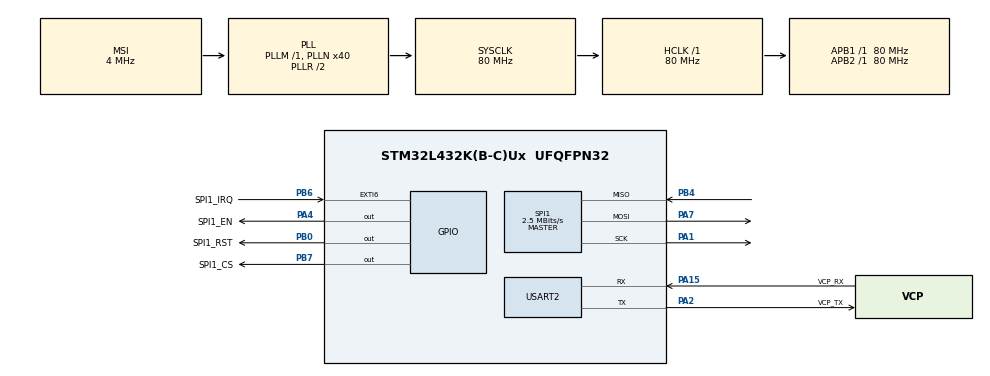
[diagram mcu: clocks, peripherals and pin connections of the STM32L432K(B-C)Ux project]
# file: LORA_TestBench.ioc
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FREERTOS.BinarySemaphores01=xSem_LORAReceive_start,Dynamic,NULL
FREERTOS.INCLUDE_vTaskDelayUntil=1
FREERTOS.Queues01=LoRA_toSend,4,LoRAtoSendQ_t,0,Dynamic,NULL,NULL;UARTdebug,20,UARTdebugQ_t,0,Dynamic,NULL,NULL
FREERTOS.Tasks01=StartInit,3,512,StartInit_TASK,Default,NULL,Dynamic,NULL,NULL;SenderLoRA,0,256,SenderLoRA_TASK,Default,NULL,Dynamic,NULL,NULL;ReceiverLoRA,0,256,ReceiverLoRA_TASK,Default,NULL,Dynamic,NULL,NULL;debug,0,256,debug_TASK,Default,NULL,Dynamic,NULL,NULL
FREERTOS.configGENERATE_RUN_TIME_STATS=1
FREERTOS.configTIMER_TASK_STACK_DEPTH=1024
FREERTOS.configTOTAL_HEAP_SIZE=7500
FREERTOS.configUSE_NEWLIB_REENTRANT=1
FREERTOS.configUSE_STATS_FORMATTING_FUNCTIONS=1
FREERTOS.configUSE_TIMERS=1
FREERTOS.configUSE_TRACE_FACILITY=1
Mcu.Family=STM32L4
Mcu.Name=STM32L432K(B-C)Ux
Mcu.Package=UFQFPN32
NVIC.EXTI9_5_IRQn=true\:5\:0\:false\:false\:true\:true\:true\:true\:true
NVIC.PriorityGroup=NVIC_PRIORITYGROUP_4
NVIC.TIM1_UP_TIM16_IRQn=true\:15\:0\:false\:false\:true\:false\:false\:true\:true
NVIC.TimeBase=TIM1_UP_TIM16_IRQn
NVIC.TimeBaseIP=TIM1
PA0.GPIO_Label=MCO [High speed clock in]
PA0.Mode=HSE-External-Clock-Source-for-LittleOrca
PA0.Signal=RCC_CK_IN
PA1.Mode=Full_Duplex_Master
PA1.Signal=SPI1_SCK
PA13\ (JTMS-SWDIO).Mode=Serial_Wire
PA13\ (JTMS-SWDIO).Signal=SYS_JTMS-SWDIO
PA14\ (JTCK-SWCLK).Mode=Serial_Wire
PA14\ (JTCK-SWCLK).Signal=SYS_JTCK-SWCLK
PA15\ (JTDI).GPIO_Label=VCP_RX
PA15\ (JTDI).Mode=Asynchronous
PA15\ (JTDI).Signal=USART2_RX
PA2.GPIO_Label=VCP_TX
PA2.Mode=Asynchronous
PA2.Signal=USART2_TX
PA4.GPIO_Label=SPI1_EN
PA4.PinState=GPIO_PIN_SET
PA4.Signal=GPIO_Output
PA7.Mode=Full_Duplex_Master
PA7.Signal=SPI1_MOSI
PB0.GPIO_Label=SPI1_RST
PB0.Signal=GPIO_Output
PB4\ (NJTRST).Mode=Full_Duplex_Master
PB4\ (NJTRST).Signal=SPI1_MISO
PB6.GPIO_Label=SPI1_IRQ
PB6.GPIO_ModeDefaultEXTI=GPIO_MODE_IT_RISING_FALLING
PB6.Signal=GPXTI6
PB7.GPIO_Label=SPI1_CS
PB7.PinState=GPIO_PIN_RESET
PB7.Signal=GPIO_Output
PC14-OSC32_IN\ (PC14).Mode=LSE-External-Oscillator
PC14-OSC32_IN\ (PC14).Signal=RCC_OSC32_IN
PC15-OSC32_OUT\ (PC15).Mode=LSE-External-Oscillator
PC15-OSC32_OUT\ (PC15).Signal=RCC_OSC32_OUT
ProjectManager.HeapSize=0x200
ProjectManager.StackSize=0x400
ProjectManager.TargetToolchain=STM32CubeIDE
RCC.ADCFreq_Value=16000000
RCC.AHBFreq_Value=80000000
RCC.APB1Freq_Value=80000000
RCC.APB1TimFreq_Value=80000000
RCC.APB2Freq_Value=80000000
RCC.APB2TimFreq_Value=80000000
RCC.CortexFreq_Value=80000000
RCC.HCLKFreq_Value=80000000
RCC.HSE_VALUE=32000000
RCC.HSI16_VALUE=16000000
RCC.HSI48_VALUE=48000000
RCC.HSI_VALUE=16000000
RCC.MSI_VALUE=4000000
RCC.PLLMUL=RCC_PLLMUL_4
RCC.PLLN=40
RCC.SYSCLKFreq_VALUE=80000000
RCC.SYSCLKSource=RCC_SYSCLKSOURCE_PLLCLK
RCC.USBFreq_Value=16000000
RCC.VCOOutputFreq_Value=160000000
SPI1.BaudRatePrescaler=SPI_BAUDRATEPRESCALER_32
SPI1.CalculateBaudRate=2.5 MBits/s
SPI1.DataSize=SPI_DATASIZE_8BIT
SPI1.Direction=SPI_DIRECTION_2LINES
SPI1.Mode=SPI_MODE_MASTER
SPI1.VirtualType=VM_MASTER
USART2.VirtualMode-Asynchronous=VM_ASYNC
VP_FREERTOS_VS_CMSIS_V1.Mode=CMSIS_V1
VP_SYS_VS_tim1.Mode=TIM1
board=NUCLEO-L432KC

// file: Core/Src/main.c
/* USER CODE BEGIN Header */
/**
 ******************************************************************************
 * @file           : main.c
 * @brief          : Main program body
 ******************************************************************************
 * @attention
 *
 * Copyright (c) 2024 STMicroelectronics.
 * All rights reserved.
 *
 * This software is licensed under terms that can be found in the LICENSE file
 * in the root directory of this software component.
 * If no LICENSE file comes with this software, it is provided AS-IS.
 *
 ******************************************************************************
 */
/* USER CODE END Header */
#include "main.h"
#include "cmsis_os.h"
#include "spi.h"
#include "usart.h"
#include "gpio.h"

/* USER CODE BEGIN Includes */
#include "RTOS_subfunctions/debug.h"
/* USER CODE END Includes */

void SystemClock_Config(void);
void MX_FREERTOS_Init(void);

int main(void)
{

  /* MCU Configuration--------------------------------------------------------*/

  /* Reset of all peripherals, Initializes the Flash interface and the Systick. */
  HAL_Init();

  /* Configure the system clock */
  SystemClock_Config();

  /* Initialize all configured peripherals */
  MX_GPIO_Init();
  MX_USART2_UART_Init();
  MX_SPI1_Init();

  /* Call init function for freertos objects (in cmsis_os2.c) */
  MX_FREERTOS_Init();

  /* Start scheduler */
  osKernelStart();

  /* We should never get here as control is now taken by the scheduler */

  /* Infinite loop */
	while (1)
	{

	}
}

void SystemClock_Config(void)
{
  RCC_OscInitTypeDef RCC_OscInitStruct = {0};
  RCC_ClkInitTypeDef RCC_ClkInitStruct = {0};

  /** Configure the main internal regulator output voltage
  */
  if (HAL_PWREx_ControlVoltageScaling(PWR_REGULATOR_VOLTAGE_SCALE1) != HAL_OK)
  {
    Error_Handler();
  }

  /** Configure LSE Drive Capability
  */
  HAL_PWR_EnableBkUpAccess();
  __HAL_RCC_LSEDRIVE_CONFIG(RCC_LSEDRIVE_LOW);

  /** Initializes the RCC Oscillators according to the specified parameters
  * in the RCC_OscInitTypeDef structure.
  */
  RCC_OscInitStruct.OscillatorType = RCC_OSCILLATORTYPE_LSE|RCC_OSCILLATORTYPE_MSI;
  RCC_OscInitStruct.LSEState = RCC_LSE_ON;
  RCC_OscInitStruct.MSIState = RCC_MSI_ON;
  RCC_OscInitStruct.MSICalibrationValue = 0;
  RCC_OscInitStruct.MSIClockRange = RCC_MSIRANGE_6;
  RCC_OscInitStruct.PLL.PLLState = RCC_PLL_ON;
  RCC_OscInitStruct.PLL.PLLSource = RCC_PLLSOURCE_MSI;
  RCC_OscInitStruct.PLL.PLLM = 1;
  RCC_OscInitStruct.PLL.PLLN = 40;
  RCC_OscInitStruct.PLL.PLLP = RCC_PLLP_DIV7;
  RCC_OscInitStruct.PLL.PLLQ = RCC_PLLQ_DIV2;
  RCC_OscInitStruct.PLL.PLLR = RCC_PLLR_DIV2;
  if (HAL_RCC_OscConfig(&RCC_OscInitStruct) != HAL_OK)
  {
    Error_Handler();
  }

  /** Initializes the CPU, AHB and APB buses clocks
  */
  RCC_ClkInitStruct.ClockType = RCC_CLOCKTYPE_HCLK|RCC_CLOCKTYPE_SYSCLK
                              |RCC_CLOCKTYPE_PCLK1|RCC_CLOCKTYPE_PCLK2;
  RCC_ClkInitStruct.SYSCLKSource = RCC_SYSCLKSOURCE_PLLCLK;
  RCC_ClkInitStruct.AHBCLKDivider = RCC_SYSCLK_DIV1;
  RCC_ClkInitStruct.APB1CLKDivider = RCC_HCLK_DIV1;
  RCC_ClkInitStruct.APB2CLKDivider = RCC_HCLK_DIV1;

  if (HAL_RCC_ClockConfig(&RCC_ClkInitStruct, FLASH_LATENCY_4) != HAL_OK)
  {
    Error_Handler();
  }

  /** Enable MSI Auto calibration
  */
  HAL_RCCEx_EnableMSIPLLMode();
}

void HAL_TIM_PeriodElapsedCallback(TIM_HandleTypeDef *htim)
{
  if (htim->Instance == TIM1) {
    HAL_IncTick();
  }
}

void Error_Handler(void)
{
  /* USER CODE BEGIN Error_Handler_Debug */
	/* User can add his own implementation to report the HAL error return state */
	__disable_irq();
	logMemoryUsage("ERROR_HANDLER");
	while (1)
	{
	}
  /* USER CODE END Error_Handler_Debug */
}

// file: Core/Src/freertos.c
/* USER CODE BEGIN Header */
/**
 ******************************************************************************
 * File Name          : freertos.c
 * Description        : Code for freertos applications
 ******************************************************************************
 * @attention
 *
 * Copyright (c) 2024 STMicroelectronics.
 * All rights reserved.
 *
 * This software is licensed under terms that can be found in the LICENSE file
 * in the root directory of this software component.
 * If no LICENSE file comes with this software, it is provided AS-IS.
 *
 ******************************************************************************
 */
/* USER CODE END Header */

#include "FreeRTOS.h"
#include "task.h"
#include "main.h"
#include "cmsis_os.h"

/* USER CODE BEGIN Includes */
#include "RTOS_subfunctions/RTOS_extern.h"
#include "RTOS_subfunctions/debug.h"
#include "RTOS_subfunctions/receiverLoRA.h"
#include "RTOS_subfunctions/senderLoRA.h"
/* USER CODE END Includes */

osThreadId StartInitHandle;
osThreadId SenderLoRAHandle;
osThreadId ReceiverLoRAHandle;
osThreadId debugHandle;
osMessageQId LoRA_toSendHandle;
osMessageQId UARTdebugHandle;
osSemaphoreId xSem_LORAReceive_startHandle;

void StartInit_TASK(void const * argument);
void SenderLoRA_TASK(void const * argument);
void ReceiverLoRA_TASK(void const * argument);
void debug_TASK(void const * argument);

void MX_FREERTOS_Init(void); /* (MISRA C 2004 rule 8.1) */

/* GetIdleTaskMemory prototype (linked to static allocation support) */
void vApplicationGetIdleTaskMemory( StaticTask_t **ppxIdleTaskTCBBuffer, StackType_t **ppxIdleTaskStackBuffer, uint32_t *pulIdleTaskStackSize );

/* GetTimerTaskMemory prototype (linked to static allocation support) */
void vApplicationGetTimerTaskMemory( StaticTask_t **ppxTimerTaskTCBBuffer, StackType_t **ppxTimerTaskStackBuffer, uint32_t *pulTimerTaskStackSize );

/* Hook prototypes */
void configureTimerForRunTimeStats(void);
unsigned long getRunTimeCounterValue(void);

/* USER CODE BEGIN 1 */
/* Functions needed when configGENERATE_RUN_TIME_STATS is on */
__weak void configureTimerForRunTimeStats(void)
{

}

__weak unsigned long getRunTimeCounterValue(void)
{
	return 0;
}
/* USER CODE END 1 */

/* USER CODE BEGIN GET_IDLE_TASK_MEMORY */
static StaticTask_t xIdleTaskTCBBuffer;
static StackType_t xIdleStack[configMINIMAL_STACK_SIZE];

void vApplicationGetIdleTaskMemory( StaticTask_t **ppxIdleTaskTCBBuffer, StackType_t **ppxIdleTaskStackBuffer, uint32_t *pulIdleTaskStackSize )
{
	*ppxIdleTaskTCBBuffer = &xIdleTaskTCBBuffer;
	*ppxIdleTaskStackBuffer = &xIdleStack[0];
	*pulIdleTaskStackSize = configMINIMAL_STACK_SIZE;
	/* place for user code */
}
/* USER CODE END GET_IDLE_TASK_MEMORY */

/* USER CODE BEGIN GET_TIMER_TASK_MEMORY */
static StaticTask_t xTimerTaskTCBBuffer;
static StackType_t xTimerStack[configTIMER_TASK_STACK_DEPTH];

void vApplicationGetTimerTaskMemory( StaticTask_t **ppxTimerTaskTCBBuffer, StackType_t **ppxTimerTaskStackBuffer, uint32_t *pulTimerTaskStackSize )
{
	*ppxTimerTaskTCBBuffer = &xTimerTaskTCBBuffer;
	*ppxTimerTaskStackBuffer = &xTimerStack[0];
	*pulTimerTaskStackSize = configTIMER_TASK_STACK_DEPTH;
	/* place for user code */
}
/* USER CODE END GET_TIMER_TASK_MEMORY */

void MX_FREERTOS_Init(void) {

  /* Create the semaphores(s) */
  /* definition and creation of xSem_LORAReceive_start */
  osSemaphoreDef(xSem_LORAReceive_start);
  xSem_LORAReceive_startHandle = osSemaphoreCreate(osSemaphore(xSem_LORAReceive_start), 1);

  /* Create the queue(s) */
  /* definition and creation of LoRA_toSend */
  osMessageQDef(LoRA_toSend, 4, LoRAtoSendQ_t);
  LoRA_toSendHandle = osMessageCreate(osMessageQ(LoRA_toSend), NULL);

  /* definition and creation of UARTdebug */
  osMessageQDef(UARTdebug, 20, UARTdebugQ_t);
  UARTdebugHandle = osMessageCreate(osMessageQ(UARTdebug), NULL);

  /* Create the thread(s) */
  /* definition and creation of StartInit */
  osThreadDef(StartInit, StartInit_TASK, osPriorityRealtime, 0, 512);
  StartInitHandle = osThreadCreate(osThread(StartInit), NULL);

  /* definition and creation of SenderLoRA */
  osThreadDef(SenderLoRA, SenderLoRA_TASK, osPriorityNormal, 0, 256);
  SenderLoRAHandle = osThreadCreate(osThread(SenderLoRA), NULL);

  /* definition and creation of ReceiverLoRA */
  osThreadDef(ReceiverLoRA, ReceiverLoRA_TASK, osPriorityNormal, 0, 256);
  ReceiverLoRAHandle = osThreadCreate(osThread(ReceiverLoRA), NULL);

  /* definition and creation of debug */
  osThreadDef(debug, debug_TASK, osPriorityNormal, 0, 256);
  debugHandle = osThreadCreate(osThread(debug), NULL);

}

void StartInit_TASK(void const * argument)
{
  /* USER CODE BEGIN StartInit_TASK */

	const char startMessage[] = "\r\nStarting...\r\n";
	const char initDoneMessage[] = "\r\nInit Done\r\n\n";

	HAL_UART_Transmit(&huart2, (uint8_t *)startMessage, sizeof(startMessage), 10);

	LORACom_Init(&hspi1,&huart2);
	RFM9x_Init();

	vTaskDelay(1000);

	HAL_UART_Transmit(&huart2, (uint8_t *)initDoneMessage, sizeof(initDoneMessage), 10);

	logMemoryUsage("INITILISATION");
	osSignalSet(ReceiverLoRAHandle, 0x01);
	osSignalSet(SenderLoRAHandle, 0x01);
	osStatus event = osThreadTerminate(StartInitHandle);
	if (event != osOK)Error_Handler();

  /* USER CODE END StartInit_TASK */
}

void SenderLoRA_TASK(void const * argument)
{
  /* USER CODE BEGIN SenderLoRA_TASK */
	/* Infinite loop */
	osEvent eventFromStart = osSignalWait(0x01, osWaitForever);
	if (eventFromStart.status == osEventSignal){
		for(;;)
		{
			uint8_t pollingStatutCommand [] = {0xb5, 0x62, 0x01, 0x43, 0x00, 0x00, 0x44, 0xcd};
			DynamicBuffer* payloadForPolling =(DynamicBuffer*)initializeBuffer(sizeof(pollingStatutCommand));
			memcpy(payloadForPolling->buffer, pollingStatutCommand, sizeof(pollingStatutCommand));

			LORA_HeaderforReception* headerForPolling = (LORA_HeaderforReception*)pvPortMalloc(sizeof(LORA_HeaderforReception));
			if (headerForPolling == NULL) Error_Handler();

			*headerForPolling = (LORA_HeaderforReception){
				.recipient = MODULE_BROADCAST_ADDRESS,
						.sender = MODULE_SOURCE_ADDRESS,
						.type = PACKET_TYPE_POLL,
						.len_payload = payloadForPolling->size
			};

			LoRAtoSendQ_t pollingStatutGNSS = (LoRAtoSendQ_t){
				.header = headerForPolling,
						.payload = payloadForPolling
			};
			xQueueSendToBack(LoRA_toSendHandle,&pollingStatutGNSS,osWaitForever);
			senderLoRA();
			freeBuffer(payloadForPolling);
			vPortFree(headerForPolling);
			vTaskDelay(5000);
		}
	}
  /* USER CODE END SenderLoRA_TASK */
}

void ReceiverLoRA_TASK(void const * argument)
{
  /* USER CODE BEGIN ReceiverLoRA_TASK */
	/* Infinite loop */
	osEvent eventFromStart = osSignalWait(0x01, osWaitForever);
	if (eventFromStart.status == osEventSignal){
		for(;;)
		{
			osSemaphoreWait(xSem_LORAReceive_startHandle, osWaitForever);
			receivedLora();
		}
	}
  /* USER CODE END ReceiverLoRA_TASK */
}

void debug_TASK(void const * argument)
{
  /* USER CODE BEGIN debug_TASK */
	/* Infinite loop */
	for(;;)
	{
		//debug();
	}
  /* USER CODE END debug_TASK */
}
